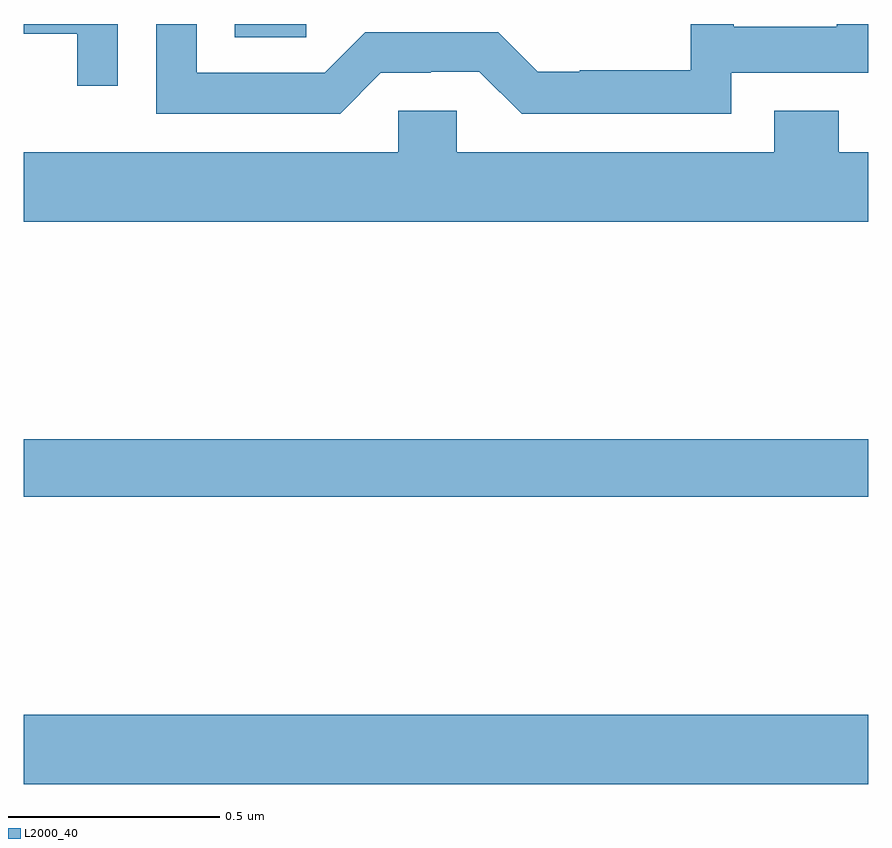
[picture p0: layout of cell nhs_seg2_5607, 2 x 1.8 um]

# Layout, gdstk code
import gdstk
lib = gdstk.Library(unit=1e-6, precision=1e-09)
def R(c, l, rs):  # rectangles x0, y0, x1, y1
    for r in rs: c.add(gdstk.rectangle(r[:2], r[2:], *l))
def P(c, l, *ps):  # polygons
    for p in ps: c.add(gdstk.Polygon(p, *l))
L2000_40 = (2000, 40)

nhs_seg2_5607 = lib.new_cell('nhs_seg2_5607')
R(nhs_seg2_5607, L2000_40, [(181,617,183,617.164), (181,617.68,183,617.816), (181.5,618.769,181.669,618.8)])
P(nhs_seg2_5607, L2000_40, [(182.676,618.684),(183,618.684),(183,618.8),(182.926,618.8),(182.926,618.793),(182.681,618.793),(182.681,618.8),(182.58,618.8),(182.58,618.691),(182.317,618.691),(182.317,618.687),(182.217,618.687),(182.124,618.78),(181.809,618.78),(181.713,618.684),(181.41,618.684),(181.41,618.8),(181.314,618.8),(181.314,618.588),(181.749,618.588),(181.845,618.684),(181.964,618.684),(181.964,618.687),(182.079,618.687),(182.179,618.587),(182.676,618.587)],
  [(181.223,618.8),(181,618.8),(181,618.777),(181.127,618.777),(181.127,618.654),(181.223,618.654)],
  [(183,618.496),(182.93,618.496),(182.93,618.595),(182.777,618.595),(182.777,618.496),(182.025,618.496),(182.025,618.594),(181.887,618.594),(181.887,618.496),(181,618.496),(181,618.332),(183,618.332)])

lib.write_gds('nhs_seg2_5607.gds')
